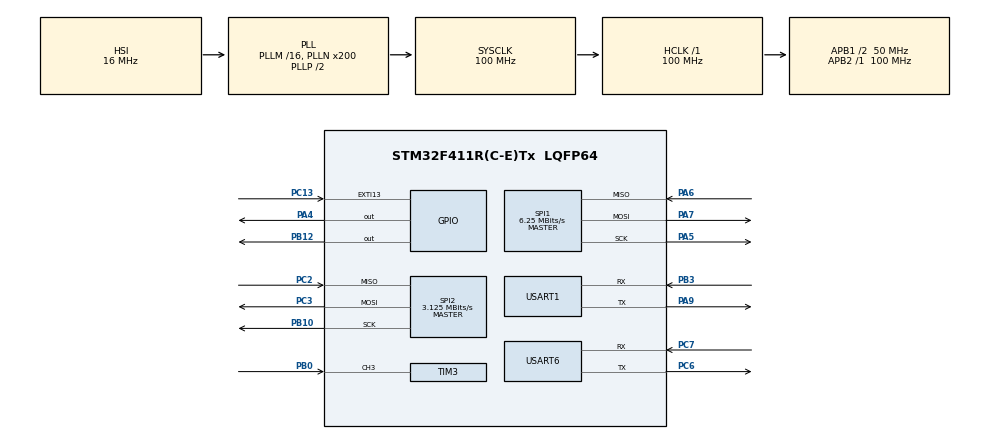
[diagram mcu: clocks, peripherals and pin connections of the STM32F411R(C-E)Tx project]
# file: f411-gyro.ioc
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Mcu.Family=STM32F4
Mcu.Name=STM32F411R(C-E)Tx
Mcu.Package=LQFP64
NVIC.EXTI15_10_IRQn=true\:0\:0\:false\:false\:true\:true
NVIC.PriorityGroup=NVIC_PRIORITYGROUP_4
NVIC.TIM3_IRQn=true\:5\:0\:true\:false\:true\:true
PA13.Mode=Serial_Wire
PA13.Signal=SYS_JTMS-SWDIO
PA14.Mode=Serial_Wire
PA14.Signal=SYS_JTCK-SWCLK
PA4.Signal=GPIO_Output
PA5.Mode=Full_Duplex_Master
PA5.Signal=SPI1_SCK
PA6.Mode=Full_Duplex_Master
PA6.Signal=SPI1_MISO
PA7.Mode=Full_Duplex_Master
PA7.Signal=SPI1_MOSI
PA9.Mode=Asynchronous
PA9.Signal=USART1_TX
PB0.Signal=S_TIM3_CH3
PB10.Mode=Full_Duplex_Master
PB10.Signal=SPI2_SCK
PB12.Signal=GPIO_Output
PB3.Mode=Asynchronous
PB3.Signal=USART1_RX
PC13-ANTI_TAMP.GPIO_PuPd=GPIO_PULLUP
PC13-ANTI_TAMP.Signal=GPXTI13
PC14-OSC32_IN.Mode=LSE-External-Oscillator
PC14-OSC32_IN.Signal=RCC_OSC32_IN
PC15-OSC32_OUT.Mode=LSE-External-Oscillator
PC15-OSC32_OUT.Signal=RCC_OSC32_OUT
PC2.Mode=Full_Duplex_Master
PC2.Signal=SPI2_MISO
PC3.Mode=Full_Duplex_Master
PC3.Signal=SPI2_MOSI
PC6.Mode=Asynchronous
PC6.Signal=USART6_TX
PC7.Mode=Asynchronous
PC7.Signal=USART6_RX
ProjectManager.HeapSize=0x400
ProjectManager.StackSize=0x400
ProjectManager.TargetToolchain=Makefile
RCC.48MHZClocksFreq_Value=50000000
RCC.AHBFreq_Value=100000000
RCC.APB1CLKDivider=RCC_HCLK_DIV2
RCC.APB1Freq_Value=50000000
RCC.APB1TimFreq_Value=100000000
RCC.APB2Freq_Value=100000000
RCC.APB2TimFreq_Value=100000000
RCC.CortexFreq_Value=100000000
RCC.HCLKFreq_Value=100000000
RCC.HSE_VALUE=25000000
RCC.HSI_VALUE=16000000
RCC.PLLN=200
RCC.SYSCLKFreq_VALUE=100000000
RCC.SYSCLKSource=RCC_SYSCLKSOURCE_PLLCLK
RCC.VCOOutputFreq_Value=200000000
SH.S_TIM3_CH3.0=TIM3_CH3,Input_Capture3_from_TI3
SPI1.BaudRatePrescaler=SPI_BAUDRATEPRESCALER_16
SPI1.CalculateBaudRate=6.25 MBits/s
SPI1.Direction=SPI_DIRECTION_2LINES
SPI1.Mode=SPI_MODE_MASTER
SPI1.VirtualType=VM_MASTER
SPI2.BaudRatePrescaler=SPI_BAUDRATEPRESCALER_16
SPI2.CalculateBaudRate=3.125 MBits/s
SPI2.Direction=SPI_DIRECTION_2LINES
SPI2.Mode=SPI_MODE_MASTER
SPI2.VirtualType=VM_MASTER
TIM3.Channel-Input_Capture3_from_TI3=TIM_CHANNEL_3
USART1.VirtualMode=VM_ASYNC
USART6.VirtualMode=VM_ASYNC
board=custom

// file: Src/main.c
/**
  ******************************************************************************
  * @file           : main.c
  * @brief          : Main program body
  ******************************************************************************
  ** This notice applies to any and all portions of this file
  * that are not between comment pairs USER CODE BEGIN and
  * USER CODE END. Other portions of this file, whether
  * inserted by the user or by software development tools
  * are owned by their respective copyright owners.
  *
  * COPYRIGHT(c) 2019 STMicroelectronics
  *
  * Redistribution and use in source and binary forms, with or without modification,
  * are permitted provided that the following conditions are met:
  *   1. Redistributions of source code must retain the above copyright notice,
  *      this list of conditions and the following disclaimer.
  *   2. Redistributions in binary form must reproduce the above copyright notice,
  *      this list of conditions and the following disclaimer in the documentation
  *      and/or other materials provided with the distribution.
  *   3. Neither the name of STMicroelectronics nor the names of its contributors
  *      may be used to endorse or promote products derived from this software
  *      without specific prior written permission.
  *
  * THIS SOFTWARE IS PROVIDED BY THE COPYRIGHT HOLDERS AND CONTRIBUTORS "AS IS"
  * AND ANY EXPRESS OR IMPLIED WARRANTIES, INCLUDING, BUT NOT LIMITED TO, THE
  * IMPLIED WARRANTIES OF MERCHANTABILITY AND FITNESS FOR A PARTICULAR PURPOSE ARE
  * DISCLAIMED. IN NO EVENT SHALL THE COPYRIGHT HOLDER OR CONTRIBUTORS BE LIABLE
  * FOR ANY DIRECT, INDIRECT, INCIDENTAL, SPECIAL, EXEMPLARY, OR CONSEQUENTIAL
  * DAMAGES (INCLUDING, BUT NOT LIMITED TO, PROCUREMENT OF SUBSTITUTE GOODS OR
  * SERVICES; LOSS OF USE, DATA, OR PROFITS; OR BUSINESS INTERRUPTION) HOWEVER
  * CAUSED AND ON ANY THEORY OF LIABILITY, WHETHER IN CONTRACT, STRICT LIABILITY,
  * OR TORT (INCLUDING NEGLIGENCE OR OTHERWISE) ARISING IN ANY WAY OUT OF THE USE
  * OF THIS SOFTWARE, EVEN IF ADVISED OF THE POSSIBILITY OF SUCH DAMAGE.
  *
  ******************************************************************************
  */
#include "main.h"
#include "stm32f4xx_hal.h"

/* USER CODE BEGIN Includes */
#include "gyro.h"
#include "Message.h"
#include "timer.h"
/* USER CODE END Includes */

SPI_HandleTypeDef hspi1;
SPI_HandleTypeDef hspi2;

TIM_HandleTypeDef htim3;

UART_HandleTypeDef huart1;
UART_HandleTypeDef huart6;

/* USER CODE BEGIN PV */
/* Private variables ---------------------------------------------------------*/

/* USER CODE END PV */

void SystemClock_Config(void);
static void MX_GPIO_Init(void);
static void MX_SPI1_Init(void);
static void MX_SPI2_Init(void);
static void MX_USART1_UART_Init(void);
static void MX_TIM3_Init(void);
static void MX_USART6_UART_Init(void);

/* USER CODE BEGIN PFP */
/* Private function prototypes -----------------------------------------------*/

/* USER CODE END PFP */

/* USER CODE BEGIN 0 */
void delay_us(uint32_t nus);
void delay_ms(uint32_t ms);
/* USER CODE END 0 */

int main(void)
{

  /* MCU Configuration----------------------------------------------------------*/

  /* Reset of all peripherals, Initializes the Flash interface and the Systick. */
  HAL_Init();

  /* Configure the system clock */
  SystemClock_Config();

  /* Initialize all configured peripherals */
  MX_GPIO_Init();
  MX_SPI1_Init();
  MX_SPI2_Init();
  MX_USART1_UART_Init();
  MX_TIM3_Init();
  MX_USART6_UART_Init();
  /* USER CODE BEGIN 2 */
	INV_MSG_SETUP(INV_MSG_LEVEL_MAX, inv_msg_printer);
	gyroInit(&hspi1);
	timer_configure_timebase(&htim3, 1000000);
	timer_clear_irq_timestamp();
	HAL_TIM_IC_Start_IT(&htim3, TIM_CHANNEL_3);
	sensor_control(1);
  /* USER CODE END 2 */

  /* Infinite loop */
  /* USER CODE BEGIN WHILE */
	while (1)
	{
		doupdategyro();
  /* USER CODE END WHILE */

	}

}

void SystemClock_Config(void)
{

  RCC_OscInitTypeDef RCC_OscInitStruct;
  RCC_ClkInitTypeDef RCC_ClkInitStruct;

    /**Configure the main internal regulator output voltage
    */
  __HAL_RCC_PWR_CLK_ENABLE();

  __HAL_PWR_VOLTAGESCALING_CONFIG(PWR_REGULATOR_VOLTAGE_SCALE1);

    /**Initializes the CPU, AHB and APB busses clocks
    */
  RCC_OscInitStruct.OscillatorType = RCC_OSCILLATORTYPE_HSI;
  RCC_OscInitStruct.HSIState = RCC_HSI_ON;
  RCC_OscInitStruct.HSICalibrationValue = 16;
  RCC_OscInitStruct.PLL.PLLState = RCC_PLL_ON;
  RCC_OscInitStruct.PLL.PLLSource = RCC_PLLSOURCE_HSI;
  RCC_OscInitStruct.PLL.PLLM = 16;
  RCC_OscInitStruct.PLL.PLLN = 200;
  RCC_OscInitStruct.PLL.PLLP = RCC_PLLP_DIV2;
  RCC_OscInitStruct.PLL.PLLQ = 4;
  if (HAL_RCC_OscConfig(&RCC_OscInitStruct) != HAL_OK)
  {
    _Error_Handler(__FILE__, __LINE__);
  }

    /**Initializes the CPU, AHB and APB busses clocks
    */
  RCC_ClkInitStruct.ClockType = RCC_CLOCKTYPE_HCLK|RCC_CLOCKTYPE_SYSCLK
                              |RCC_CLOCKTYPE_PCLK1|RCC_CLOCKTYPE_PCLK2;
  RCC_ClkInitStruct.SYSCLKSource = RCC_SYSCLKSOURCE_PLLCLK;
  RCC_ClkInitStruct.AHBCLKDivider = RCC_SYSCLK_DIV1;
  RCC_ClkInitStruct.APB1CLKDivider = RCC_HCLK_DIV2;
  RCC_ClkInitStruct.APB2CLKDivider = RCC_HCLK_DIV1;

  if (HAL_RCC_ClockConfig(&RCC_ClkInitStruct, FLASH_LATENCY_3) != HAL_OK)
  {
    _Error_Handler(__FILE__, __LINE__);
  }

    /**Configure the Systick interrupt time
    */
  HAL_SYSTICK_Config(HAL_RCC_GetHCLKFreq()/1000);

    /**Configure the Systick
    */
  HAL_SYSTICK_CLKSourceConfig(SYSTICK_CLKSOURCE_HCLK);

  /* SysTick_IRQn interrupt configuration */
  HAL_NVIC_SetPriority(SysTick_IRQn, 0, 0);
}

/* SPI1 init function */
static void MX_SPI1_Init(void)
{

  /* SPI1 parameter configuration*/
  hspi1.Instance = SPI1;
  hspi1.Init.Mode = SPI_MODE_MASTER;
  hspi1.Init.Direction = SPI_DIRECTION_2LINES;
  hspi1.Init.DataSize = SPI_DATASIZE_8BIT;
  hspi1.Init.CLKPolarity = SPI_POLARITY_LOW;
  hspi1.Init.CLKPhase = SPI_PHASE_1EDGE;
  hspi1.Init.NSS = SPI_NSS_SOFT;
  hspi1.Init.BaudRatePrescaler = SPI_BAUDRATEPRESCALER_16;
  hspi1.Init.FirstBit = SPI_FIRSTBIT_MSB;
  hspi1.Init.TIMode = SPI_TIMODE_DISABLE;
  hspi1.Init.CRCCalculation = SPI_CRCCALCULATION_DISABLE;
  hspi1.Init.CRCPolynomial = 10;
  if (HAL_SPI_Init(&hspi1) != HAL_OK)
  {
    _Error_Handler(__FILE__, __LINE__);
  }

}

/* SPI2 init function */
static void MX_SPI2_Init(void)
{

  /* SPI2 parameter configuration*/
  hspi2.Instance = SPI2;
  hspi2.Init.Mode = SPI_MODE_MASTER;
  hspi2.Init.Direction = SPI_DIRECTION_2LINES;
  hspi2.Init.DataSize = SPI_DATASIZE_8BIT;
  hspi2.Init.CLKPolarity = SPI_POLARITY_LOW;
  hspi2.Init.CLKPhase = SPI_PHASE_1EDGE;
  hspi2.Init.NSS = SPI_NSS_SOFT;
  hspi2.Init.BaudRatePrescaler = SPI_BAUDRATEPRESCALER_16;
  hspi2.Init.FirstBit = SPI_FIRSTBIT_MSB;
  hspi2.Init.TIMode = SPI_TIMODE_DISABLE;
  hspi2.Init.CRCCalculation = SPI_CRCCALCULATION_DISABLE;
  hspi2.Init.CRCPolynomial = 10;
  if (HAL_SPI_Init(&hspi2) != HAL_OK)
  {
    _Error_Handler(__FILE__, __LINE__);
  }

}

/* TIM3 init function */
static void MX_TIM3_Init(void)
{

  TIM_MasterConfigTypeDef sMasterConfig;
  TIM_IC_InitTypeDef sConfigIC;

  htim3.Instance = TIM3;
  htim3.Init.Prescaler = 0;
  htim3.Init.CounterMode = TIM_COUNTERMODE_UP;
  htim3.Init.Period = 0;
  htim3.Init.ClockDivision = TIM_CLOCKDIVISION_DIV1;
  if (HAL_TIM_IC_Init(&htim3) != HAL_OK)
  {
    _Error_Handler(__FILE__, __LINE__);
  }

  sMasterConfig.MasterOutputTrigger = TIM_TRGO_RESET;
  sMasterConfig.MasterSlaveMode = TIM_MASTERSLAVEMODE_DISABLE;
  if (HAL_TIMEx_MasterConfigSynchronization(&htim3, &sMasterConfig) != HAL_OK)
  {
    _Error_Handler(__FILE__, __LINE__);
  }

  sConfigIC.ICPolarity = TIM_INPUTCHANNELPOLARITY_RISING;
  sConfigIC.ICSelection = TIM_ICSELECTION_DIRECTTI;
  sConfigIC.ICPrescaler = TIM_ICPSC_DIV1;
  sConfigIC.ICFilter = 0;
  if (HAL_TIM_IC_ConfigChannel(&htim3, &sConfigIC, TIM_CHANNEL_3) != HAL_OK)
  {
    _Error_Handler(__FILE__, __LINE__);
  }

}

/* USART1 init function */
static void MX_USART1_UART_Init(void)
{

  huart1.Instance = USART1;
  huart1.Init.BaudRate = 115200;
  huart1.Init.WordLength = UART_WORDLENGTH_8B;
  huart1.Init.StopBits = UART_STOPBITS_1;
  huart1.Init.Parity = UART_PARITY_NONE;
  huart1.Init.Mode = UART_MODE_TX_RX;
  huart1.Init.HwFlowCtl = UART_HWCONTROL_NONE;
  huart1.Init.OverSampling = UART_OVERSAMPLING_16;
  if (HAL_UART_Init(&huart1) != HAL_OK)
  {
    _Error_Handler(__FILE__, __LINE__);
  }

}

/* USART6 init function */
static void MX_USART6_UART_Init(void)
{

  huart6.Instance = USART6;
  huart6.Init.BaudRate = 115200;
  huart6.Init.WordLength = UART_WORDLENGTH_8B;
  huart6.Init.StopBits = UART_STOPBITS_1;
  huart6.Init.Parity = UART_PARITY_NONE;
  huart6.Init.Mode = UART_MODE_TX_RX;
  huart6.Init.HwFlowCtl = UART_HWCONTROL_NONE;
  huart6.Init.OverSampling = UART_OVERSAMPLING_16;
  if (HAL_UART_Init(&huart6) != HAL_OK)
  {
    _Error_Handler(__FILE__, __LINE__);
  }

}

/** Configure pins as
        * Analog
        * Input
        * Output
        * EVENT_OUT
        * EXTI
*/
static void MX_GPIO_Init(void)
{

  GPIO_InitTypeDef GPIO_InitStruct;

  /* GPIO Ports Clock Enable */
  __HAL_RCC_GPIOC_CLK_ENABLE();
  __HAL_RCC_GPIOA_CLK_ENABLE();
  __HAL_RCC_GPIOB_CLK_ENABLE();

  /*Configure GPIO pin Output Level */
  HAL_GPIO_WritePin(GPIOA, GPIO_PIN_4, GPIO_PIN_RESET);

  /*Configure GPIO pin Output Level */
  HAL_GPIO_WritePin(GPIOB, GPIO_PIN_12, GPIO_PIN_RESET);

  /*Configure GPIO pin : PC13 */
  GPIO_InitStruct.Pin = GPIO_PIN_13;
  GPIO_InitStruct.Mode = GPIO_MODE_IT_RISING;
  GPIO_InitStruct.Pull = GPIO_PULLUP;
  HAL_GPIO_Init(GPIOC, &GPIO_InitStruct);

  /*Configure GPIO pin : PA4 */
  GPIO_InitStruct.Pin = GPIO_PIN_4;
  GPIO_InitStruct.Mode = GPIO_MODE_OUTPUT_PP;
  GPIO_InitStruct.Pull = GPIO_NOPULL;
  GPIO_InitStruct.Speed = GPIO_SPEED_FREQ_LOW;
  HAL_GPIO_Init(GPIOA, &GPIO_InitStruct);

  /*Configure GPIO pin : PB12 */
  GPIO_InitStruct.Pin = GPIO_PIN_12;
  GPIO_InitStruct.Mode = GPIO_MODE_OUTPUT_PP;
  GPIO_InitStruct.Pull = GPIO_NOPULL;
  GPIO_InitStruct.Speed = GPIO_SPEED_FREQ_LOW;
  HAL_GPIO_Init(GPIOB, &GPIO_InitStruct);

  /* EXTI interrupt init*/
  HAL_NVIC_SetPriority(EXTI15_10_IRQn, 0, 0);
  HAL_NVIC_EnableIRQ(EXTI15_10_IRQn);

}

/* USER CODE BEGIN 4 */
void delay_us(uint32_t nus)
{
	uint32_t ticks;
	uint32_t told,tnow,tcnt=0;
	uint32_t reload=SysTick->LOAD;
	ticks=nus*72; //72MHz
	told=SysTick->VAL;
	while(1)
	{
		tnow=SysTick->VAL;
		if(tnow!=told)
		{
				if(tnow<told)tcnt+=told-tnow;
				else tcnt+=reload-tnow+told;
				told=tnow;
				if(tcnt>=ticks)break;
		}
	};
}

void delay_ms(uint32_t ms)
{
	delay_us(ms * 1000);
}

void inv_icm207xx_sleep(int ms)
{
	delay_ms(ms);
}

void inv_icm207xx_sleep_us(int us)
{
	delay_us(us);
}

void HAL_GPIO_EXTI_Callback(uint16_t GPIO_Pin)
{
	delay_ms(50);
	if(GPIO_Pin == GPIO_PIN_13) {
		if(HAL_GPIO_ReadPin(GPIOC, GPIO_PIN_13)==GPIO_PIN_SET) {
			xSensorEvent event;
			int size = sizeof(event);
			memset(&event, 0, size);
			int i;
			char *ptr = &event;
			for(i=0;i < size;i++)
				*(ptr+i) = i;
			HAL_GPIO_WritePin(GPIOB, GPIO_PIN_12, GPIO_PIN_RESET);
			HAL_SPI_Transmit(&hspi2, &event, size, 20);
			HAL_GPIO_WritePin(GPIOB, GPIO_PIN_12, GPIO_PIN_SET);
		}
	}
}
/* USER CODE END 4 */

void _Error_Handler(char *file, int line)
{
  while(1)
  {
  }
}

/************************ (C) COPYRIGHT STMicroelectronics *****END OF FILE****/
